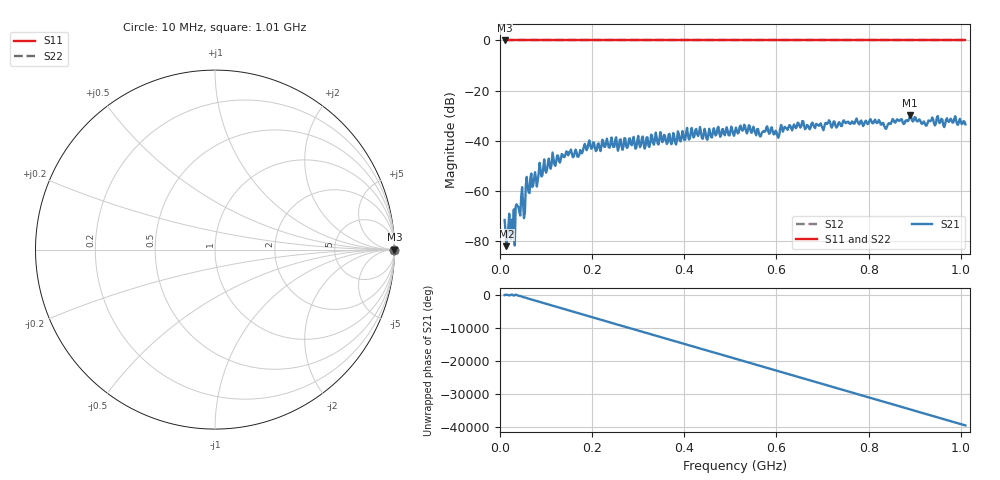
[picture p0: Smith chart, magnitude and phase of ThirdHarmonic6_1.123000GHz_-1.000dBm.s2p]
! 8/16/2025 10:50:05 AM
! C:\ANRITSUVNA\TEMP\TEMP.S2P
! CHANNEL.1
! TR.MEASUREMENT
! RAW.DATA
! RF.CORRECTION.OFF
! AVERAGING.OFF
! IF.BANDWIDTH: 5KHZ
! SWEEPTYPE:  FREQ.SWEEP(Linear)
! Reference Plane Port Info
! PORT:  PORT1  PORT2
! DISTANCE:  0  m  0  m
! TIME:  0  s  0  s
! PHASE.OFFSET:  0  deg.  0  deg.
! LOSS:  0  dB  0  dB
! REF.LOSS:  0  dB  0  dB
! REF.FREQ:  0  Hz  0  Hz
! Power Info
! POWER:  -20  dBm  -20  dBm
! EFF.POWER:  -20  dBm  -20  dBm
! SOURCE.ATTEN:  0  dB  0  dB
! TEST.ATTEN:  0  dB  0  dB
# GHZ S RI R 50.0
! FREQ.GHZ  S11RE  S11IM  S21RE  S21IM  S12RE  S12IM  S22RE  S22IM
!; PortSelection: Port_12
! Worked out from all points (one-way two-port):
!   501 points, 10 MHz to 1.01 GHz, reference 50 ohm
!   highest |S21| = -29.87 dB at 890 MHz (marker M1); lowest = -82.1 dB at 14 MHz (marker M2)
!   lowest |S11| = 0.0 dB at 10 MHz (marker M3)
!   |S11| at or under -10 dB: nowhere
!   |S22| runs from 0.0 to 0.0 dB; largest |S21 - S12| = 1
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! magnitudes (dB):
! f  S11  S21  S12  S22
! 10 MHz  0.0  -71.7  0.0  0.0
! 14 MHz  0.0  -82.1  0.0  0.0
! 22 MHz  0.0  -74.1  0.0  0.0
! 28 MHz  0.0  -76.4  0.0  0.0
! 38 MHz  0.0  -66.1  0.0  0.0
! 50 MHz  0.0  -65.1  0.0  0.0
! 60 MHz  0.0  -58.4  0.0  0.0
! 90 MHz  0.0  -54.3  0.0  0.0
! 148 MHz  0.0  -45.9  0.0  0.0
! 178 MHz  0.0  -45.0  0.0  0.0
! 194 MHz  0.0  -39.9  0.0  0.0
! 344 MHz  0.0  -41.5  0.0  0.0
! 510 MHz  0.0  -36.4  0.0  0.0
! 526 MHz  0.0  -36.0  0.0  0.0
! 602 MHz  0.0  -38.1  0.0  0.0
! 614 MHz  0.0  -36.4  0.0  0.0
! 678 MHz  0.0  -32.8  0.0  0.0
! 844 MHz  0.0  -33.0  0.0  0.0
! 890 MHz  0.0  -29.9  0.0  0.0
! 924 MHz  0.0  -34.0  0.0  0.0
! 936 MHz  0.0  -31.8  0.0  0.0
! 1.01 GHz  0.0  -33.5  0.0  0.0
